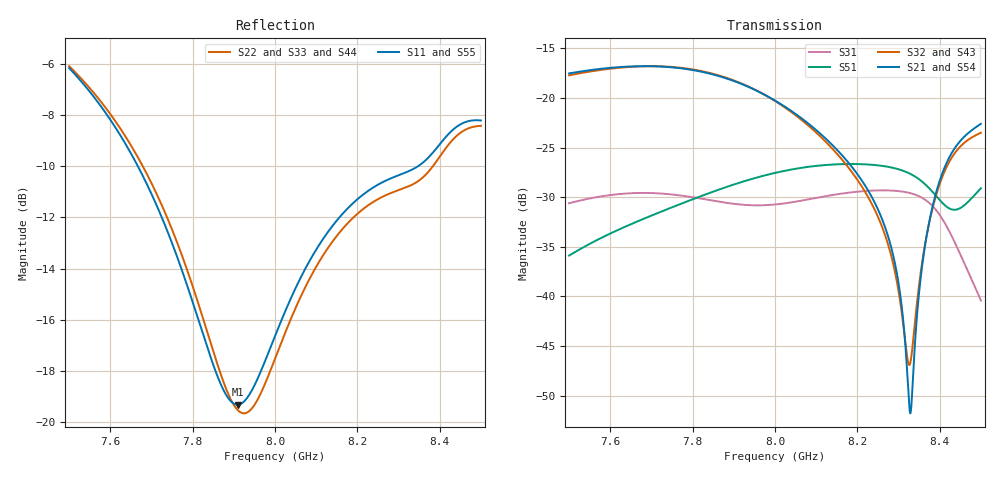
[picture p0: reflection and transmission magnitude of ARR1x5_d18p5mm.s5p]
! Touchstone file exported from HFSS 2025.1.0
!  File:  C:/Users/user/Documents/Ansoft/TFG_UWB-MIMO-Array.aedt
!  Generated:  04:10:09 PM Nov 20, 2026
!  Design:  ARR1x5_US3_PS6_4_dparam
!  Project:  TFG_UWB-MIMO-Array
!  Setup:  Setup_ch9
!  Solution:  Sweep_7p5_8p5
! Variables:
!  arr_d = 18.5mm
!  board_m = 13mm
!  board_x = 100mm
!  board_y = 26mm
!  cu_t = 0.035mm
!  line_w = 3.92mm
!  pad_xy = 22mm
!  pad_zn = 25mm
!  pad_zp = 33mm
!  par_L = 7.05mm
!  par_W = 13.58mm
!  par_yc = 0.615mm
!  par_z = 1.035mm
!  patch_L = 6.29mm
!  patch_W = 14mm
!  sub_h = 2.07mm
!  tr_l = 7.25mm
!  tr_w = 1mm
!  u_Lu = 2.65mm
!  u_Wu = 4.4mm
!  u_t = 0.8mm
!  u_y0 = -0.7mm
# GHz S MA R 50.000000
! Terminal data exported
! Port[1] = P1
! Port[2] = P2
! Port[3] = P3
! Port[4] = P4
! Port[5] = P5
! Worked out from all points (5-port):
!   1001 points, 7.5 GHz to 8.5 GHz, reference 50 ohm
!   strongest paths, dB at 7.5 GHz, 7.75 GHz, 8 GHz, 8.25 GHz, 8.5 GHz:
!     S21: -17.5, -16.9, -20.3, -31.2, -22.6
!     S54: -17.5, -16.9, -20.3, -31.3, -22.5
!     S32: -17.7, -16.9, -20.3, -32.0, -23.5
!     S43: -17.7, -16.9, -20.3, -31.9, -23.5
!     S51: -35.9, -31.0, -27.6, -26.8, -29.1
!     S31: -30.6, -29.7, -30.7, -29.3, -40.4
!   lowest |S11| = -19.3 dB at 7.909 GHz (marker M1), VSWR 1.24, Z = 61.2 - j4.36 ohm
!   |S11| at or under -10 dB: 7.667 GHz to 8.348 GHz (680.7 MHz wide, 8.5 % of centre)
